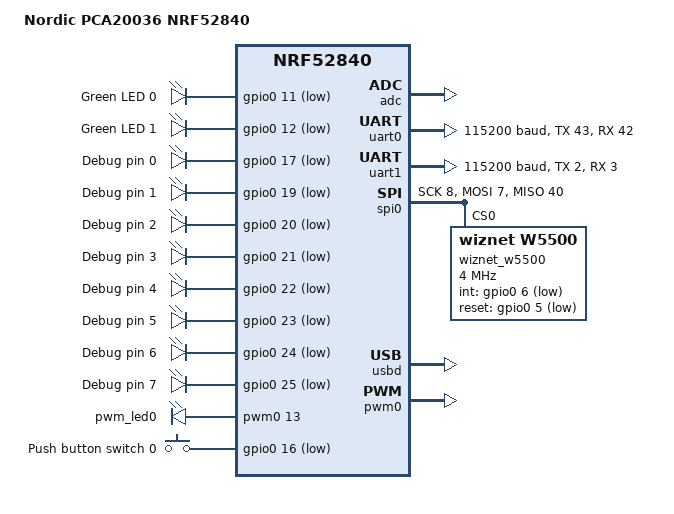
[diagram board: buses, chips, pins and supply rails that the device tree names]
/*
 * Copyright (c) 2021 Nordic Semiconductor
 *
 * SPDX-License-Identifier: LicenseRef-BSD-5-Clause-Nordic
 */

/dts-v1/;
#include <nordic/nrf52840_qiaa.dtsi>

/ {
	model = "Nordic PCA20036 NRF52840";
	compatible = "nordic,pca20036-nrf52840";

	chosen {
		zephyr,console = &uart0;
		zephyr,shell-uart = &uart0;
		zephyr,uart-mcumgr = &uart0;
		zephyr,bt-mon-uart = &uart0;
		zephyr,bt-c2h-uart = &uart0;
		zephyr,sram = &sram0;
		zephyr,flash = &flash0;
		zephyr,code-partition = &slot0_partition;
	};

	aliases {
		led0 = &led0;
		led1 = &led1;
		sw0 = &button0;
		pwm-led0 = &pwm_led0;
		dbg0 = &dbg0;
		dbg1 = &dbg1;
		dbg2 = &dbg2;
		dbg3 = &dbg3;
		dbg4 = &dbg4;
		dbg5 = &dbg5;
		dbg6 = &dbg6;
		dbg7 = &dbg7;

	};

	leds {
		compatible = "gpio-leds";
		led0: led_0 {
			gpios = <&gpio0 11 GPIO_ACTIVE_LOW>;
			label = "Green LED 0";
		};
		led1: led_1 {
			gpios = <&gpio0 12 GPIO_ACTIVE_LOW>;
			label = "Green LED 1";
		};
	};

	dbg_pins {
		compatible = "gpio-leds";
		dbg0: dbg_0 {
			gpios = <&gpio0 17 GPIO_ACTIVE_LOW>;
			label = "Debug pin 0";
		};
		dbg1: dbg_1 {
			gpios = <&gpio0 19 GPIO_ACTIVE_LOW>;
			label = "Debug pin 1";
		};

		dbg2: dbg_2 {
			gpios = <&gpio0 20 GPIO_ACTIVE_LOW>;
			label = "Debug pin 2";
		};

		dbg3: dbg_3 {
			gpios = <&gpio0 21 GPIO_ACTIVE_LOW>;
			label = "Debug pin 3";
		};
		dbg4: dbg_4 {
			gpios = <&gpio0 22 GPIO_ACTIVE_LOW>;
			label = "Debug pin 4";
		};

		dbg5: dbg_5 {
			gpios = <&gpio0 23 GPIO_ACTIVE_LOW>;
			label = "Debug pin 5";
		};

		dbg6: dbg_6 {
			gpios = <&gpio0 24 GPIO_ACTIVE_LOW>;
			label = "Debug pin 6";
		};

		dbg7: dbg_7 {
			gpios = <&gpio0 25 GPIO_ACTIVE_LOW>;
			label = "Debug pin 7";
		};
	};

	pwmleds {
		compatible = "pwm-leds";
		pwm_led0: pwm_led_0 {
			pwms = <&pwm0 13>;
		};
	};

	buttons {
		compatible = "gpio-keys";
		button0: button_0 {
			gpios = <&gpio0 16 (GPIO_PULL_UP | GPIO_ACTIVE_LOW)>;
			label = "Push button switch 0";
		};
	};
};

&adc {
	status = "okay";
};

&gpiote {
	status = "okay";
};

&gpio0 {
	status = "okay";
};

&gpio1 {
	status = "okay";
};

&uart0 {
	compatible = "nordic,nrf-uart";
	status = "okay";
	current-speed = <115200>;
	tx-pin = <43>;
	rx-pin = <42>;
	rts-pin = <45>;
	cts-pin = <44>;
};

&uart1 {
	status = "okay";
	current-speed = <115200>;
	rx-pin = <3>;
	tx-pin = <2>;
};

&spi0 {
	compatible = "nordic,nrf-spi";
	status = "okay";
	sck-pin = <8>;
	mosi-pin = <7>;
	miso-pin = <40>;
	miso-pull-up;

	w5500: wiznet_w5500@0 {
		compatible = "wiznet,w5500";
		label = "wiznet_w5500";
		reg = <0>;
		spi-max-frequency = <4000000>;
		int-gpios = <&gpio0 6 GPIO_ACTIVE_LOW>;
		reset-gpios = <&gpio0 5 GPIO_ACTIVE_LOW>;
	};
};

&flash0 {
	partitions {
		compatible = "fixed-partitions";
		#address-cells = <1>;
		#size-cells = <1>;

		boot_partition: partition@0 {
			label = "mcuboot";
			reg = <0x000000000 0x0000C000>;
		};
		slot0_partition: partition@c000 {
			label = "image-0";
			reg = <0x0000C000 0x00067000>;
		};
		slot1_partition: partition@73000 {
			label = "image-1";
			reg = <0x00073000 0x00067000>;
		};
		scratch_partition: partition@da000 {
			label = "image-scratch";
			reg = <0x000da000 0x0001e000>;
		};

		/*
		 * The flash starting at 0x000f8000 and ending at
		 * 0x000fffff is reserved for use by the application.
		 */

		/*
		 * Storage partition will be used by FCB/LittleFS/NVS
		 * if enabled.
		 */
		storage_partition: partition@f8000 {
			label = "storage";
			reg = <0x000f8000 0x00008000>;
		};
	};
};

&usbd {
	compatible = "nordic,nrf-usbd";
	status = "okay";
};

&pwm0 {
	status = "okay";
	ch0-pin = <13>;
};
